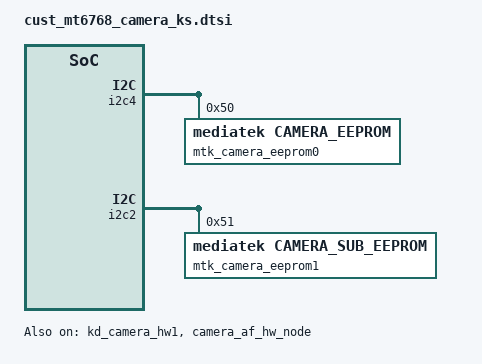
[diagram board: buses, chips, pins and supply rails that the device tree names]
// SPDX-License-Identifier: (GPL-2.0 OR MIT)
/*
 * Copyright (c) 2019 MediaTek Inc.
 */
/* CAMERA GPIO standardization */
&pio {
	camera0_mclk_2mA: camera0_mclk_2mA@gpio100 {
		pins_cmd_dat {
			pinmux = <PINMUX_GPIO100__FUNC_CMMCLK1>;
			drive-strength = <MTK_DRIVE_2mA>;
		};
	};
	camera0_mclk_4mA: camera0_mclk_4mA@gpio100 {
		pins_cmd_dat {
			pinmux = <PINMUX_GPIO100__FUNC_CMMCLK1>;
			drive-strength = <MTK_DRIVE_4mA>;
		};
	};
	camera0_mclk_6mA: camera0_mclk_6mA@gpio100 {
		pins_cmd_dat {
			pinmux = <PINMUX_GPIO100__FUNC_CMMCLK1>;
			drive-strength = <MTK_DRIVE_6mA>;
		};
	};
	camera0_mclk_8mA: camera0_mclk_8mA@gpio100 {
		pins_cmd_dat {
			pinmux = <PINMUX_GPIO100__FUNC_CMMCLK1>;
			drive-strength = <7>;
		};
	};
	camera0_mclk_off: camera0_mclk_gpio_mode@gpio100 {
		pins_cmd_dat {
			pinmux = <PINMUX_GPIO100__FUNC_GPIO100>;
			drive-strength = <MTK_DRIVE_4mA>;
		};
	};
	camera1_mclk_2mA: camera1_mclk_2mA@gpio108 {
		pins_cmd_dat {
			pinmux = <PINMUX_GPIO108__FUNC_CMMCLK2>;
			drive-strength = <MTK_DRIVE_2mA>;
		};
	};
	camera1_mclk_4mA: camera1_mclk_4mA@gpio108 {
		pins_cmd_dat {
			pinmux = <PINMUX_GPIO108__FUNC_CMMCLK2>;
			drive-strength = <MTK_DRIVE_4mA>;
		};
	};
	camera1_mclk_6mA: camera1_mclk_6mA@gpio108 {
		pins_cmd_dat {
			pinmux = <PINMUX_GPIO108__FUNC_CMMCLK2>;
			drive-strength = <MTK_DRIVE_6mA>;
		};
	};
	camera1_mclk_8mA: camera1_mclk_8mA@gpio108 {
		pins_cmd_dat {
			pinmux = <PINMUX_GPIO108__FUNC_CMMCLK2>;
			drive-strength = <7>;
		};
	};
	camera1_mclk_off: camera1_mclk_gpio_mode@gpio108 {
		pins_cmd_dat {
			pinmux = <PINMUX_GPIO108__FUNC_GPIO108>;
			drive-strength = <MTK_DRIVE_4mA>;
		};
	};
	camera0_rst_low: camera0_rst_output_low@gpio102 {
		pins_cmd_dat {
			pinmux = <PINMUX_GPIO102__FUNC_GPIO102>;
			output-low;
		};
	};
	camera0_rst_high: camera0_rst_output_high@gpio102 {
		pins_cmd_dat {
			pinmux = <PINMUX_GPIO102__FUNC_GPIO102>;
			output-high;
		};
	};
	camera1_rst_low: camera1_rst_output_low@gpio109 {
		pins_cmd_dat {
			pinmux = <PINMUX_GPIO109__FUNC_GPIO109>;
			output-low;
		};
	};
	camera1_rst_high: camera1_rst_output_high@gpio109 {
		pins_cmd_dat {
			pinmux = <PINMUX_GPIO109__FUNC_GPIO109>;
			output-high;
		};
	};
	camera1_vcamd_off: camera1_vcamd_output_low@gpio23 {
		pins_cmd_dat {
			pinmux = <PINMUX_GPIO23__FUNC_GPIO23>;
			output-low;
		};
	};
	camera1_vcamd_on: camera1_vcamd_output_high@gpio23 {
		pins_cmd_dat {
			pinmux = <PINMUX_GPIO23__FUNC_GPIO23>;
			output-high;
		};
	};
	camera0_af_on: camera0_af_on@gpio39{
		pins_cmd_dat {
			pinmux = <PINMUX_GPIO39__FUNC_GPIO39>;
			output-high;
		};
	};
	camera0_af_off: camera0_af_off@gpio39{
		pins_cmd_dat {
			pinmux = <PINMUX_GPIO39__FUNC_GPIO39>;
			output-low;
		};
	};
	camera_pins_default: camdefault {
	};
};
//ITD:modify by isp team 20201020 start
&kd_camera_hw1 {
	pinctrl-names = "default",
			"cam0_rst0", "cam0_rst1",
			"cam1_rst0", "cam1_rst1",
			"cam1_vcamd_on",
			"cam1_vcamd_off",
			"cam0_mclk_off",
			"cam0_mclk_2mA", "cam0_mclk_4mA",
			"cam0_mclk_6mA", "cam0_mclk_8mA",
			"cam1_mclk_off",
			"cam1_mclk_2mA", "cam1_mclk_4mA",
			"cam1_mclk_6mA", "cam1_mclk_8mA";
	pinctrl-0 = <&camera_pins_default>;
	pinctrl-1 = <&camera0_rst_low>;
	pinctrl-2 = <&camera0_rst_high>;
	pinctrl-3 = <&camera1_rst_low>;
	pinctrl-4 = <&camera1_rst_high>;
	pinctrl-5 = <&camera1_vcamd_on>;
	pinctrl-6 = <&camera1_vcamd_off>;
	pinctrl-7 = <&camera0_mclk_off>;
	pinctrl-8 = <&camera0_mclk_2mA>;
	pinctrl-9 = <&camera0_mclk_4mA>;
	pinctrl-10 = <&camera0_mclk_6mA>;
	pinctrl-11 = <&camera0_mclk_8mA>;
	pinctrl-12 = <&camera1_mclk_off>;
	pinctrl-13 = <&camera1_mclk_2mA>;
	pinctrl-14 = <&camera1_mclk_4mA>;
	pinctrl-15 = <&camera1_mclk_6mA>;
	pinctrl-16 = <&camera1_mclk_8mA>;

	cam0_vcamio-supply = <&mt_pmic_vcamio_ldo_reg>;
	cam1_vcamio-supply = <&mt_pmic_vcamio_ldo_reg>;
	cam0_vcamd-supply = <&mt_pmic_vcamd_ldo_reg>;
	cam0_vcama-supply = <&mt_pmic_vcama2_ldo_reg>;
	cam1_vcama-supply = <&mt_pmic_vcama1_ldo_reg>;
	cam2_vcama-supply = <&mt_pmic_vcama1_ldo_reg>;

	pmic = <&main_pmic>;
	cam0_enable_sensor = "hi5022q_mipi_raw";
	cam1_enable_sensor = "gc08a8_mipi_raw";
	status = "okay";

};

/* CAMERA EEPROM */
&i2c4 {
	mtk_camera_eeprom0:camera_eeprom0@50 {
		compatible = "mediatek,camera_eeprom";
		reg = <0x50>;
		status = "okay";
	};
};
&i2c2 {
	mtk_camera_eeprom1:camera_eeprom1@51 {
		compatible = "mediatek,camera_sub_eeprom";
		reg = <0x51>;
		status = "okay";
	};
};

/*CAMERA AF*/
&camera_af_hw_node {
		pinctrl-names = "camaf_m1_gpio_on","camaf_m1_gpio_off";
		pinctrl-0 = <&camera0_af_on>;
		pinctrl-1 = <&camera0_af_off>;
		status = "okay";
	};
